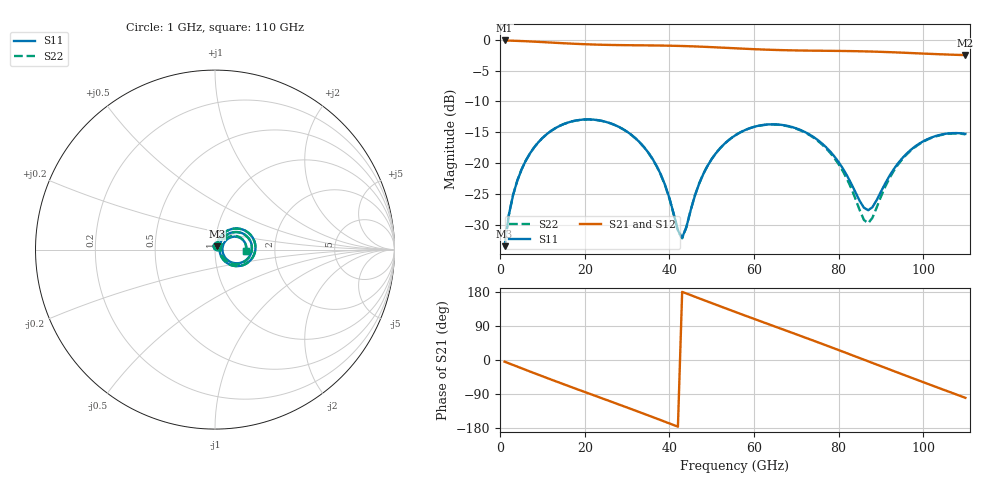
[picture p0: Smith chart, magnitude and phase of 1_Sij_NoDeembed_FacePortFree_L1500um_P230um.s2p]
! Touchstone file exported from HFSS 2024.2.0
!  File:  C:/Users/vaintrug/Documents/Ansoft_Workspace/Comparaison_Calculs_HFSS/1_VarPort.aedt
!  Generated:  03:22:17 PM Jan 21, 2025
!  Design:  1_NoDeembed_FacePortFree
!  Project:  1_VarPort
!  Setup:  Setup1
!  Solution:  Sweep
! Variables:
!  $Lenght = 1500um
!  $PortSize = 230um
!  Gap = 30um
!  Th = 2um
!  X_centralStrip = 20um
!  X_masse = 200um
!  Y_Sub = 1.5mm
!  Z_Box = 400um
!  Z_Sub = 200um
# GHz S MA R 50.000000
! Terminal data exported
! Port[1] = 1
! Port[2] = 2
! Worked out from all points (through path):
!   110 points, 1 GHz to 110 GHz, reference 50 ohm
!   highest |S21| = -0.10 dB at 1 GHz (marker M1); lowest = -2.5 dB at 110 GHz (marker M2)
!   group delay of S21, straight-line fit = 11.6 ps
!   lowest |S11| = -33.5 dB at 1 GHz (marker M3), VSWR 1.04, Z = 50.9 + j1.92 ohm
!   |S11| at or under -10 dB: start of sweep to end of sweep
!   |S22| runs from -33.5 to -12.9 dB; largest |S21 - S12| = 2e-15
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1  0.02115 63.0  0.9891 -4.4  0.9891 -4.4  0.02115 63.0
! Gamma 5.77429817055489 49.8157169174882 6.05077129232492 49.9899237150606
! Port Impedance 50 0 50 0
2  0.0379 69.8  0.9866 -8.8  0.9866 -8.8  0.0379 69.8
3  0.055 70.1  0.984 -13.1  0.984 -13.1  0.055 70.1
7  0.1197 58.5  0.9712 -30.4  0.9712 -30.4  0.1197 58.4
14  0.2002 31.4  0.9427 -59.9  0.9427 -59.9  0.2001 31.2
20  0.2259 8.2  0.922 -84.6  0.922 -84.6  0.2257 8.0
29  0.1887 -25.1  0.9062 -121.4  0.9062 -121.4  0.1883 -25.4
34  0.1346 -41.6  0.9025 -142.1  0.9025 -142.1  0.1341 -42.0
38  0.08003 -50.1  0.8992 -159.0  0.8992 -159.0  0.07951 -50.6
42  0.02844 -23.7  0.8934 -175.9  0.8934 -175.9  0.02794 -23.7
43  0.02478 5.9  0.8915 179.8  0.8915 179.8  0.02448 6.5
46  0.05416 52.9  0.8846 167.0  0.8846 167.0  0.05435 52.9
49  0.09486 53.2  0.876 154.3  0.876 154.3  0.09506 52.8
56  0.1716 33.3  0.8529 125.0  0.8529 125.0  0.1715 32.6
65  0.2062 2.7  0.8285 88.2  0.8285 88.2  0.2053 1.3
74  0.1635 -26.3  0.8173 51.3  0.8173 51.3  0.1613 -28.8
80  0.102 -39.3  0.8133 26.2  0.8133 26.2  0.0981 -43.7
87  0.0414 1.4  0.8051 -3.4  0.8051 -3.4  0.03243 3.4
92  0.07826 39.7  0.7949 -24.7  0.7949 -24.7  0.07487 45.6
96  0.1183 36.5  0.7848 -41.6  0.7848 -41.6  0.1165 40.1
101  0.1561 23.9  0.7716 -62.5  0.7716 -62.5  0.1549 26.1
110  0.1727 -3.2  0.7523 -99.8  0.7523 -99.8  0.1711 -2.5
